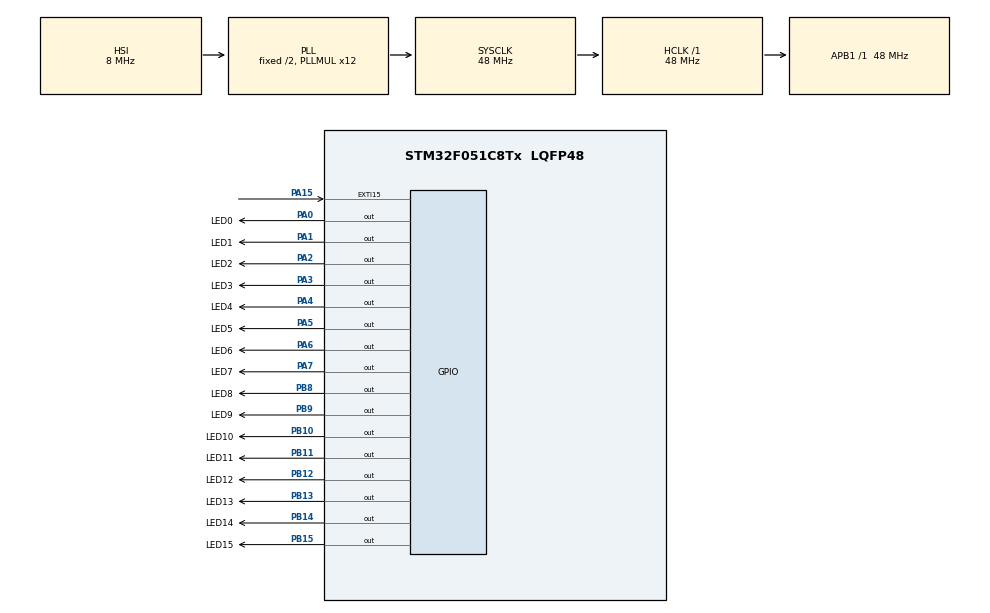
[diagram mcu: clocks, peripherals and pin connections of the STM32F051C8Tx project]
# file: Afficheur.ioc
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Mcu.Family=STM32F0
Mcu.Name=STM32F051C8Tx
Mcu.Package=LQFP48
NVIC.EXTI4_15_IRQn=true\:0\:0\:false\:false\:true\:true
PA0.GPIO_Label=LED0
PA0.PinState=GPIO_PIN_SET
PA0.Signal=GPIO_Output
PA1.GPIO_Label=LED1
PA1.PinState=GPIO_PIN_SET
PA1.Signal=GPIO_Output
PA15.GPIO_ModeDefaultEXTI=GPIO_MODE_IT_FALLING
PA15.Signal=GPXTI15
PA2.GPIO_Label=LED2
PA2.PinState=GPIO_PIN_SET
PA2.Signal=GPIO_Output
PA3.GPIO_Label=LED3
PA3.PinState=GPIO_PIN_SET
PA3.Signal=GPIO_Output
PA4.GPIO_Label=LED4
PA4.PinState=GPIO_PIN_SET
PA4.Signal=GPIO_Output
PA5.GPIO_Label=LED5
PA5.GPIO_Speed=GPIO_SPEED_FREQ_HIGH
PA5.PinState=GPIO_PIN_SET
PA5.Signal=GPIO_Output
PA6.GPIO_Label=LED6
PA6.PinState=GPIO_PIN_SET
PA6.Signal=GPIO_Output
PA7.GPIO_Label=LED7
PA7.PinState=GPIO_PIN_SET
PA7.Signal=GPIO_Output
PB10.GPIO_Label=LED10
PB10.PinState=GPIO_PIN_SET
PB10.Signal=GPIO_Output
PB11.GPIO_Label=LED11
PB11.PinState=GPIO_PIN_SET
PB11.Signal=GPIO_Output
PB12.GPIO_Label=LED12
PB12.PinState=GPIO_PIN_SET
PB12.Signal=GPIO_Output
PB13.GPIO_Label=LED13
PB13.GPIO_ModeDefaultOutputPP=GPIO_MODE_OUTPUT_PP
PB13.PinState=GPIO_PIN_SET
PB13.Signal=GPIO_Output
PB14.GPIO_Label=LED14
PB14.PinState=GPIO_PIN_SET
PB14.Signal=GPIO_Output
PB15.GPIO_Label=LED15
PB15.PinState=GPIO_PIN_SET
PB15.Signal=GPIO_Output
PB8.GPIO_Label=LED8
PB8.PinState=GPIO_PIN_SET
PB8.Signal=GPIO_Output
PB9.GPIO_Label=LED9
PB9.PinState=GPIO_PIN_SET
PB9.Signal=GPIO_Output
ProjectManager.HeapSize=0x200
ProjectManager.StackSize=0x400
ProjectManager.TargetToolchain=TrueSTUDIO
RCC.AHBFreq_Value=48000000
RCC.APB1Freq_Value=48000000
RCC.APB1TimFreq_Value=48000000
RCC.HCLKFreq_Value=48000000
RCC.PLLMUL=RCC_PLL_MUL12
RCC.SYSCLKFreq_VALUE=48000000
RCC.SYSCLKSource=RCC_SYSCLKSOURCE_PLLCLK
board=Afficheur

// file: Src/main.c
/**
  ******************************************************************************
  * @file           : main.c
  * @brief          : Main program body
  ******************************************************************************
  ** This notice applies to any and all portions of this file
  * that are not between comment pairs USER CODE BEGIN and
  * USER CODE END. Other portions of this file, whether
  * inserted by the user or by software development tools
  * are owned by their respective copyright owners.
  *
  * COPYRIGHT(c) 2020 STMicroelectronics
  *
  * Redistribution and use in source and binary forms, with or without modification,
  * are permitted provided that the following conditions are met:
  *   1. Redistributions of source code must retain the above copyright notice,
  *      this list of conditions and the following disclaimer.
  *   2. Redistributions in binary form must reproduce the above copyright notice,
  *      this list of conditions and the following disclaimer in the documentation
  *      and/or other materials provided with the distribution.
  *   3. Neither the name of STMicroelectronics nor the names of its contributors
  *      may be used to endorse or promote products derived from this software
  *      without specific prior written permission.
  *
  * THIS SOFTWARE IS PROVIDED BY THE COPYRIGHT HOLDERS AND CONTRIBUTORS "AS IS"
  * AND ANY EXPRESS OR IMPLIED WARRANTIES, INCLUDING, BUT NOT LIMITED TO, THE
  * IMPLIED WARRANTIES OF MERCHANTABILITY AND FITNESS FOR A PARTICULAR PURPOSE ARE
  * DISCLAIMED. IN NO EVENT SHALL THE COPYRIGHT HOLDER OR CONTRIBUTORS BE LIABLE
  * FOR ANY DIRECT, INDIRECT, INCIDENTAL, SPECIAL, EXEMPLARY, OR CONSEQUENTIAL
  * DAMAGES (INCLUDING, BUT NOT LIMITED TO, PROCUREMENT OF SUBSTITUTE GOODS OR
  * SERVICES; LOSS OF USE, DATA, OR PROFITS; OR BUSINESS INTERRUPTION) HOWEVER
  * CAUSED AND ON ANY THEORY OF LIABILITY, WHETHER IN CONTRACT, STRICT LIABILITY,
  * OR TORT (INCLUDING NEGLIGENCE OR OTHERWISE) ARISING IN ANY WAY OUT OF THE USE
  * OF THIS SOFTWARE, EVEN IF ADVISED OF THE POSSIBILITY OF SUCH DAMAGE.
  *
  ******************************************************************************
  */
#include "main.h"
#include "stm32f0xx_hal.h"

/* USER CODE BEGIN Includes */
#include "Amadou_Charles_Functions.h"
/* USER CODE END Includes */

/* USER CODE BEGIN PV */
/* Private variables ---------------------------------------------------------*/
volatile int flag_fourche = 0;
unsigned char lettreA[6] = {0x80, 0xF6, 0xF6, 0xF6, 0x80, 0xFF};

volatile int countlettre = 0;

// Declaration d'un tableau de char de A а Z
unsigned char lettre[26][6] = { {0x80, 0xF6, 0xF6, 0xF6, 0x80, 0xFF}, // A
								{0x00, 0x7F, 0x7F, 0x7F, 0x2F, 0xFF}, // B
								{0x00, 0x7E, 0x7E, 0x7E, 0x00, 0xFF}, // C
								{0x00, 0x7E, 0x7E, 0x2C, 0xCD, 0xFF}, // D
								{0x00, 0x6E, 0x6E, 0x6E, 0x10, 0xFF}, // E
								{0x80, 0xEE, 0xEE, 0xEE, 0x88, 0xFF}, // F
								//{0x00, 0x7E, 0x66, 0x66, 0x0G, 0xFF}, // G
								{0x00, 0x76, 0x76, 0x76, 0x46, 0xFF}, // H
								{0x7E, 0x7E, 0x00, 0x7E, 0x7E, 0xFF},// I
								{0xFF, 0xFE, 0x00, 0x7E, 0x1E, 0xFF},// J
								{0x00, 0xE7, 0xCB, 0xFD, 0x7E, 0xFF},// K
								{0x00, 0x7F, 0x7F, 0x7F, 0x2F, 0xFF},// L
								{0x00, 0xFD, 0xFB, 0xFD, 0x00, 0xFF},// M
								{0x00, 0xFD, 0xFB, 0xF7, 0x00, 0xFF},// N
								{0x00, 0x7E, 0x7E, 0x7E, 0x00, 0xFF},// O
								{0x00, 0x7A, 0x7A, 0x7A, 0xF8, 0xFF},// P
								{0xF8, 0x7A, 0x7A, 0x7A, 0x00, 0xFF},// Q
								{0x00, 0xEE, 0xF5, 0xDB, 0xFF, 0xFF},// R
								{0x70, 0x76, 0x76, 0x76, 0x06, 0xFF},// S
								{0xFC, 0xFE, 0x00, 0xFE, 0xFC, 0xFF},// T
								{0x00, 0x7F, 0x7F, 0x7F, 0x1E, 0xFF},// U
								{0xC0, 0xBF, 0x7F, 0xBF, 0xC0, 0xFF},// V
								{0x00, 0xBF, 0xDF, 0xBF, 0x00, 0xFF},// W
								{0x7E, 0xBD, 0x00, 0xBD, 0x7E, 0xFF},// X
								{0xFE, 0xFD, 0x02, 0xFD, 0xFE, 0xFF},// Y
								{0x7E, 0x2E, 0x42, 0x7C, 0x7E, 0xFF},// Z
							  };

// Declaration d'un caractиre vide
unsigned char vide[6] = {0xFF, 0xFF, 0xFF, 0xFF, 0xFF, 0xFF};

/* USER CODE END PV */

void SystemClock_Config(void);
static void MX_GPIO_Init(void);

/* USER CODE BEGIN PFP */
/* Private function prototypes -----------------------------------------------*/

/* USER CODE END PFP */

int main(void)
{

  /* MCU Configuration----------------------------------------------------------*/

  /* Reset of all peripherals, Initializes the Flash interface and the Systick. */
  HAL_Init();

  /* Configure the system clock */
  SystemClock_Config();

  /* Initialize all configured peripherals */
  MX_GPIO_Init();
  /* USER CODE BEGIN 2 */
  char mot[] = "CHARLES KODZOVI LADZRO  AMADOU DIA  JEREMY COLZY";

  /* USER CODE END 2 */

  /* Infinite loop */
  /* USER CODE BEGIN WHILE */
  while (1)
  {
	  /*RESET_BUS(GPIOA, 1);
	  SET_BUS(GPIOB, 8);
	  Attente(1106);
	  RESET_BUS(GPIOB, 8);
	  SET_BUS(GPIOA, 1);
	  Attente(1106);*/

	  /*RESET_BUS(GPIOA, 1);
	  RESET_BUS(GPIOB, 8);
	  Attente(1106*180);
	  SET_BUS(GPIOB, 8);
	  SET_BUS(GPIOA, 1);
	  Attente(1106);*/

	  /*while(LIRE_ENTREE(GPIOA, 15) == 1);
	  SET_BUS(GPIOA, 1);
	  SET_BUS(GPIOB, 8);
	  Attente(1106);
	  RESET_BUS(GPIOA, 1);
	  RESET_BUS(GPIOB, 8);

	  while(LIRE_ENTREE(GPIOA, 15) == 0);*/

	  if (flag_fourche == 1){

		flag_fourche = 0;

		/*SET_BUS(GPIOA, 1);
		SET_BUS(GPIOB, 8);
		Attente(1106);
		RESET_BUS(GPIOA, 1);
		RESET_BUS(GPIOB, 8);

		Attente(67*1106);

		SET_BUS(GPIOA, 1);
		SET_BUS(GPIOB, 8);
		Attente(1106);
		RESET_BUS(GPIOA, 1);
		RESET_BUS(GPIOB, 8);*/

		/*GPIOA->ODR &= lettreA[0];
		Attente(1106);
		GPIOA->ODR &= lettreA[1];
		Attente(1106);*/

		/*SET_PATTE(GPIOA, 0);
		SET_PATTE(GPIOA, 1);
		SET_PATTE(GPIOA, 2);
		SET_PATTE(GPIOA, 3);
		SET_PATTE(GPIOA, 4);
		SET_PATTE(GPIOA, 5);
		SET_PATTE(GPIOA, 6);
		RESET_PATTE(GPIOA, 7);
		Attente(1106);
		SET_PATTE(GPIOA, 0);
		RESET_PATTE(GPIOA, 1);
		RESET_PATTE(GPIOA, 2);
		SET_PATTE(GPIOA, 3);
		RESET_PATTE(GPIOA, 4);
		RESET_PATTE(GPIOA, 5);
		RESET_PATTE(GPIOA, 6);
		RESET_PATTE(GPIOA, 7);
		Attente(1106);*/

		/*GPIOA->ODR |= 0xFF;
		GPIOA->ODR &= lettreA[0];
		Attente(1106);
		GPIOA->ODR |= 0xFF;
		GPIOA->ODR &= lettreA[1];
		Attente(1106);
		GPIOA->ODR |= 0xFF;
		GPIOA->ODR &= lettreA[5];
		Attente(1106);*/

		/*for(countlettre = 0; countlettre < 6; countlettre++){
			GPIOA->ODR |= 0xFF;
			GPIOA->ODR &= lettreA[countlettre];
			Attente(1106);
		}*/

		afficheChar(GPIOA, 0, &lettre[0][0]);

		volatile int tailleMot = sizeof(mot)/sizeof(char);

		// Afficher un mot de 1 а 60 caractиres

		/*volatile int i;
		int nombreCaractere = 0;
		for (i = 0; i < tailleMot; i++){
			if(mot[i] != ' '){
				if (0 <= nombreCaractere && nombreCaractere <= 30){
					afficheChar(GPIOA, 0, &(lettre[mot[i] - 65][0]));
					nombreCaractere++;
				}
				else if (31 <= nombreCaractere && nombreCaractere <= 60){
					afficheChar(GPIOB, 8, &(lettre[mot[i] - 65][0]));
					nombreCaractere++;
				}
			}
			else{
				if (0 <= nombreCaractere && nombreCaractere <= 30){
					afficheChar(GPIOA, 0, vide);
				}
				else if (31 <= nombreCaractere && nombreCaractere <= 60){
					afficheChar(GPIOB, 8, vide);
				}

			}
		}

	  }*/

  /* USER CODE END WHILE */

  }

}

void SystemClock_Config(void)
{

  RCC_OscInitTypeDef RCC_OscInitStruct;
  RCC_ClkInitTypeDef RCC_ClkInitStruct;

    /**Initializes the CPU, AHB and APB busses clocks
    */
  RCC_OscInitStruct.OscillatorType = RCC_OSCILLATORTYPE_HSI;
  RCC_OscInitStruct.HSIState = RCC_HSI_ON;
  RCC_OscInitStruct.HSICalibrationValue = 16;
  RCC_OscInitStruct.PLL.PLLState = RCC_PLL_ON;
  RCC_OscInitStruct.PLL.PLLSource = RCC_PLLSOURCE_HSI;
  RCC_OscInitStruct.PLL.PLLMUL = RCC_PLL_MUL12;
  RCC_OscInitStruct.PLL.PREDIV = RCC_PREDIV_DIV1;
  if (HAL_RCC_OscConfig(&RCC_OscInitStruct) != HAL_OK)
  {
    _Error_Handler(__FILE__, __LINE__);
  }

    /**Initializes the CPU, AHB and APB busses clocks
    */
  RCC_ClkInitStruct.ClockType = RCC_CLOCKTYPE_HCLK|RCC_CLOCKTYPE_SYSCLK
                              |RCC_CLOCKTYPE_PCLK1;
  RCC_ClkInitStruct.SYSCLKSource = RCC_SYSCLKSOURCE_PLLCLK;
  RCC_ClkInitStruct.AHBCLKDivider = RCC_SYSCLK_DIV1;
  RCC_ClkInitStruct.APB1CLKDivider = RCC_HCLK_DIV1;

  if (HAL_RCC_ClockConfig(&RCC_ClkInitStruct, FLASH_LATENCY_1) != HAL_OK)
  {
    _Error_Handler(__FILE__, __LINE__);
  }

    /**Configure the Systick interrupt time
    */
  HAL_SYSTICK_Config(HAL_RCC_GetHCLKFreq()/1000);

    /**Configure the Systick
    */
  HAL_SYSTICK_CLKSourceConfig(SYSTICK_CLKSOURCE_HCLK);

  /* SysTick_IRQn interrupt configuration */
  HAL_NVIC_SetPriority(SysTick_IRQn, 0, 0);
}

/** Configure pins as
        * Analog
        * Input
        * Output
        * EVENT_OUT
        * EXTI
*/
static void MX_GPIO_Init(void)
{

  GPIO_InitTypeDef GPIO_InitStruct;

  /* GPIO Ports Clock Enable */
  __HAL_RCC_GPIOA_CLK_ENABLE();
  __HAL_RCC_GPIOB_CLK_ENABLE();

  /*Configure GPIO pin Output Level */
  HAL_GPIO_WritePin(GPIOA, LED0_Pin|LED1_Pin|LED2_Pin|LED3_Pin
                          |LED4_Pin|LED5_Pin|LED6_Pin|LED7_Pin, GPIO_PIN_SET);

  /*Configure GPIO pin Output Level */
  HAL_GPIO_WritePin(GPIOB, LED10_Pin|LED11_Pin|LED12_Pin|LED13_Pin
                          |LED14_Pin|LED15_Pin|LED8_Pin|LED9_Pin, GPIO_PIN_SET);

  /*Configure GPIO pins : LED0_Pin LED1_Pin LED2_Pin LED3_Pin
                           LED4_Pin LED6_Pin LED7_Pin */
  GPIO_InitStruct.Pin = LED0_Pin|LED1_Pin|LED2_Pin|LED3_Pin
                          |LED4_Pin|LED6_Pin|LED7_Pin;
  GPIO_InitStruct.Mode = GPIO_MODE_OUTPUT_PP;
  GPIO_InitStruct.Pull = GPIO_NOPULL;
  GPIO_InitStruct.Speed = GPIO_SPEED_FREQ_LOW;
  HAL_GPIO_Init(GPIOA, &GPIO_InitStruct);

  /*Configure GPIO pin : LED5_Pin */
  GPIO_InitStruct.Pin = LED5_Pin;
  GPIO_InitStruct.Mode = GPIO_MODE_OUTPUT_PP;
  GPIO_InitStruct.Pull = GPIO_NOPULL;
  GPIO_InitStruct.Speed = GPIO_SPEED_FREQ_HIGH;
  HAL_GPIO_Init(LED5_GPIO_Port, &GPIO_InitStruct);

  /*Configure GPIO pins : LED10_Pin LED11_Pin LED12_Pin LED13_Pin
                           LED14_Pin LED15_Pin LED8_Pin LED9_Pin */
  GPIO_InitStruct.Pin = LED10_Pin|LED11_Pin|LED12_Pin|LED13_Pin
                          |LED14_Pin|LED15_Pin|LED8_Pin|LED9_Pin;
  GPIO_InitStruct.Mode = GPIO_MODE_OUTPUT_PP;
  GPIO_InitStruct.Pull = GPIO_NOPULL;
  GPIO_InitStruct.Speed = GPIO_SPEED_FREQ_LOW;
  HAL_GPIO_Init(GPIOB, &GPIO_InitStruct);

  /*Configure GPIO pin : PA15 */
  GPIO_InitStruct.Pin = GPIO_PIN_15;
  GPIO_InitStruct.Mode = GPIO_MODE_IT_FALLING;
  GPIO_InitStruct.Pull = GPIO_NOPULL;
  HAL_GPIO_Init(GPIOA, &GPIO_InitStruct);

  /* EXTI interrupt init*/
  HAL_NVIC_SetPriority(EXTI4_15_IRQn, 0, 0);
  HAL_NVIC_EnableIRQ(EXTI4_15_IRQn);

}

/* USER CODE BEGIN 4 */

void HAL_GPIO_EXTI_Callback(uint16_t GPIO_Pin)
{
	if(GPIO_Pin == GPIO_PIN_15){
		flag_fourche = 1;

		/*SET_BUS(GPIOA, 1);
		SET_BUS(GPIOB, 8);
		Attente(1106);
		RESET_BUS(GPIOA, 1);
		RESET_BUS(GPIOB, 8);*/
	}

}

/* USER CODE END 4 */

void _Error_Handler(char *file, int line)
{
  while(1)
  {
  }
}

/************************ (C) COPYRIGHT STMicroelectronics *****END OF FILE****/
